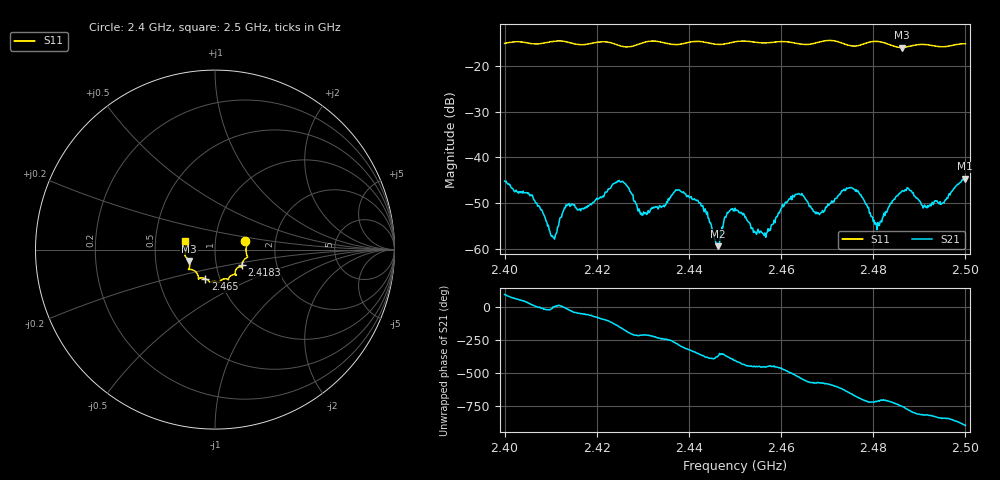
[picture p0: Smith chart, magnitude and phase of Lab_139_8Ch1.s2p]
# Hz S RI R 50
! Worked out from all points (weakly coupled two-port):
!   601 points, 2.4 GHz to 2.5 GHz, reference 50 ohm
!   highest |S21| = -44.63 dB at 2.4998 GHz (marker M1); lowest = -59.3 dB at 2.4463 GHz (marker M2)
!   lowest |S11| = -16.0 dB at 2.4862 GHz (marker M3), VSWR 1.38, Z = 37.1 - j4.81 ohm
!   |S11| at or under -10 dB: start of sweep to end of sweep
!   S12 and S22 are empty: the file has one direction only
!   S11 on the Smith chart (normalised r, x): 2.4 GHz: 1.40, +0.13; 2.4183 GHz: 1.33, -0.24; 2.465 GHz: 0.86, -0.29; 2.5 GHz: 0.71, +0.07
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2.4e9  0.1691 0.0458  -0.000343 0.00552  0 0  0 0
2.405667e9  0.174 0.0121  0.00369 0.0013  0 0  0 0
2.4105e9  0.1804 -0.0374  0.00135 -1.66e-05  0 0  0 0
2.4135e9  0.1759 -0.0455  0.00291 -0.000674  0 0  0 0
2.416667e9  0.155 -0.0683  0.00171 -0.00217  0 0  0 0
2.418333e9  0.15 -0.0869  0.00136 -0.00268  0 0  0 0
2.425e9  0.134 -0.0967  -0.0049 -0.00237  0 0  0 0
2.4295e9  0.1129 -0.1333  -0.00194 0.00143  0 0  0 0
2.433333e9  0.1168 -0.1412  -0.00156 0.00225  0 0  0 0
2.441667e9  0.0744 -0.1686  0.00334 0.000541  0 0  0 0
2.446333e9  0.0499 -0.1633  0.00105 -0.000233  0 0  0 0
2.45e9  0.025 -0.1806  0.00195 -0.00202  0 0  0 0
2.4565e9  -0.00534 -0.1772  -0.000156 -0.0015  0 0  0 0
2.465e9  -0.0529 -0.1622  -0.00358 0.000991  0 0  0 0
2.466667e9  -0.0714 -0.1575  -0.00224 0.0016  0 0  0 0
2.475e9  -0.1016 -0.1305  0.00216 0.00413  0 0  0 0
2.480833e9  -0.1479 -0.1098  0.00163 5.86e-05  0 0  0 0
2.483333e9  -0.1421 -0.0959  0.00288 0.000194  0 0  0 0
2.486167e9  -0.1447 -0.0632  0.0035 -0.00246  0 0  0 0
2.491833e9  -0.1667 -0.0287  -0.000619 -0.00293  0 0  0 0
2.499833e9  -0.1673 0.0462  -0.00586 -0.000214  0 0  0 0
2.5e9  -0.1668 0.0471  -0.00578 0.000104  0 0  0 0
